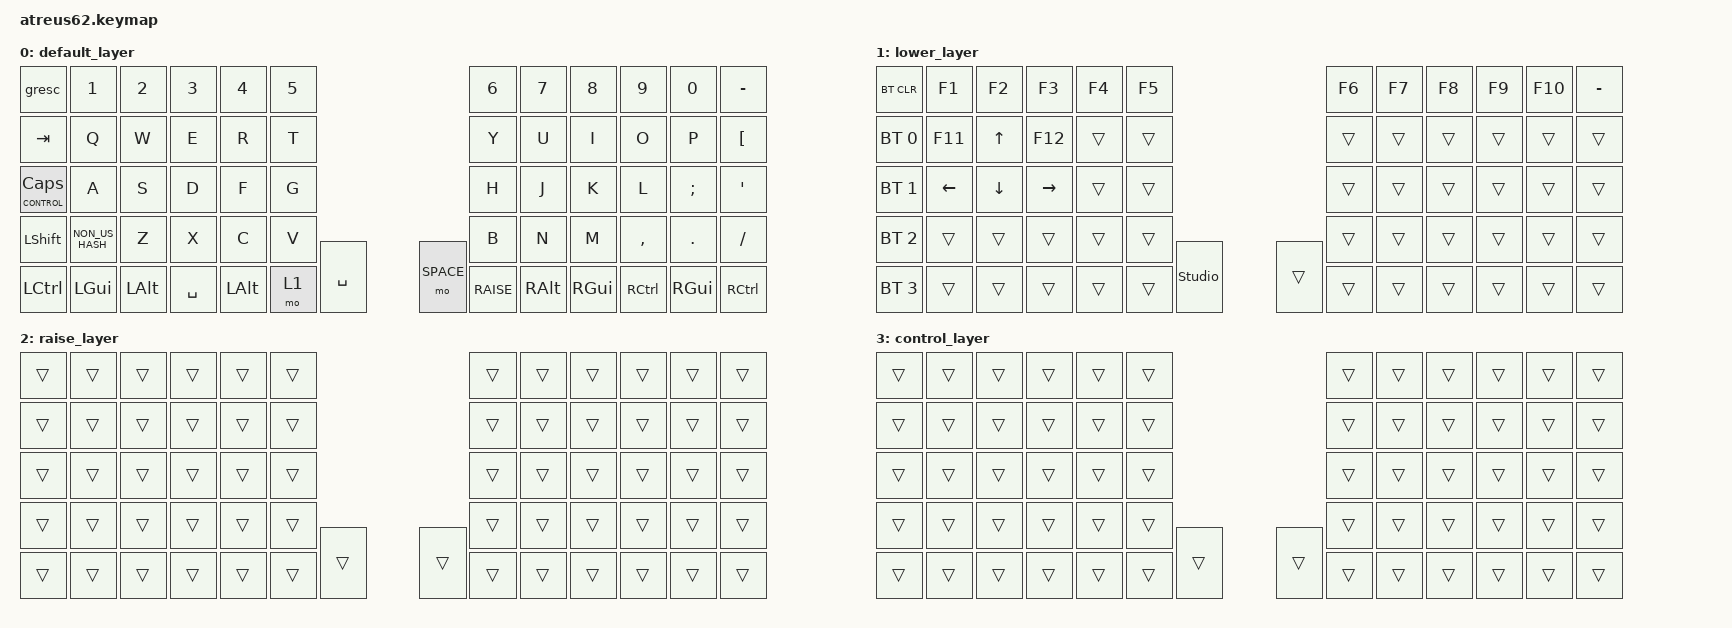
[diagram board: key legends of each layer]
/*
 * Copyright (c) 2024 Mechlovin'
 * SPDX-License-Identifier: MIT
 */

#include <behaviors.dtsi>
#include <dt-bindings/zmk/keys.h>
#include <dt-bindings/zmk/rgb.h>
#include <dt-bindings/zmk/bt.h>
#define LOWER   1
#define RAISE   2
#define CONTROL 3

/ {
	keymap {
		compatible = "zmk,keymap";
		
		default_layer {
			bindings = <
	&gresc         &kp N1     &kp N2   &kp N3 	 &kp N4   &kp N5    					   &kp N6    &kp N7    &kp N8   &kp N9    &kp N0   &kp MINUS  
	&kp TAB        &kp Q      &kp W    &kp E     &kp R    &kp T     					   &kp Y     &kp U     &kp I    &kp O     &kp P    &kp LBKT   
  &lt CONTROL CLCK &kp A      &kp S    &kp D  	 &kp F    &kp G     					   &kp H     &kp J     &kp K    &kp L     &kp SEMI &kp SQT     
	&kp LSHFT &kp NON_US_HASH &kp Z    &kp X  	 &kp C    &kp V     					   &kp B     &kp N     &kp M    &kp COMMA &kp DOT  &kp FSLH  
	&kp LCTRL &kp LGUI	  	  &kp LALT &kp SPACE &kp LALT &mo 1 &kp SPACE	&mo SPACE  &kp RAISE &kp RALT  &kp RGUI &kp RCTRL &kp RGUI &kp RCTRL   
			>;
		};

		lower_layer {
			bindings = <
	&bt BT_CLR     &kp F1        &kp F2   &kp F3 	 &kp F4  &kp F5    					   &kp F6    &kp F7    &kp F8   &kp F9    &kp F10   &kp MINUS  
	&bt BT_SEL 0   &kp F11       &kp UP   &kp F12    &trans  &trans   					   &trans    &trans    &trans   &trans    &trans    &trans   
	&bt BT_SEL 1   &kp LEFT      &kp DOWN &kp RIGHT  &trans  &trans   					   &trans    &trans    &trans   &trans    &trans    &trans     
	&bt BT_SEL 2   &trans  		 &trans   &trans     &trans  &trans   					   &trans    &trans    &trans   &trans    &trans    &trans     
	&bt BT_SEL 3   &trans  		 &trans   &trans     &trans  &trans   &studio_unlock  &trans      &trans    &trans    &trans   &trans    &trans    &trans     
			>;
		};
        
        raise_layer {
			bindings = <
	&trans     &trans  		 &trans   &trans     &trans  &trans   					   &trans    &trans    &trans   &trans    &trans    &trans     
	&trans     &trans  		 &trans   &trans     &trans  &trans   					   &trans    &trans    &trans   &trans    &trans    &trans   
	&trans     &trans  		 &trans   &trans     &trans  &trans   					   &trans    &trans    &trans   &trans    &trans    &trans   
	&trans     &trans  		 &trans   &trans     &trans  &trans   					   &trans    &trans    &trans   &trans    &trans    &trans     
	&trans     &trans  		 &trans   &trans     &trans  &trans    &trans  &trans      &trans    &trans    &trans   &trans    &trans    &trans 
			>;
		};
        
        control_layer {
			bindings = <
	&trans     &trans  		 &trans   &trans     &trans  &trans   					   &trans    &trans    &trans   &trans    &trans    &trans     
	&trans     &trans  		 &trans   &trans     &trans  &trans   					   &trans    &trans    &trans   &trans    &trans    &trans   
	&trans     &trans  		 &trans   &trans     &trans  &trans   					   &trans    &trans    &trans   &trans    &trans    &trans   
	&trans     &trans  		 &trans   &trans     &trans  &trans   					   &trans    &trans    &trans   &trans    &trans    &trans     
	&trans     &trans  		 &trans   &trans     &trans  &trans    &trans  &trans      &trans    &trans    &trans   &trans    &trans    &trans   	
			>;
		};
	};
};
